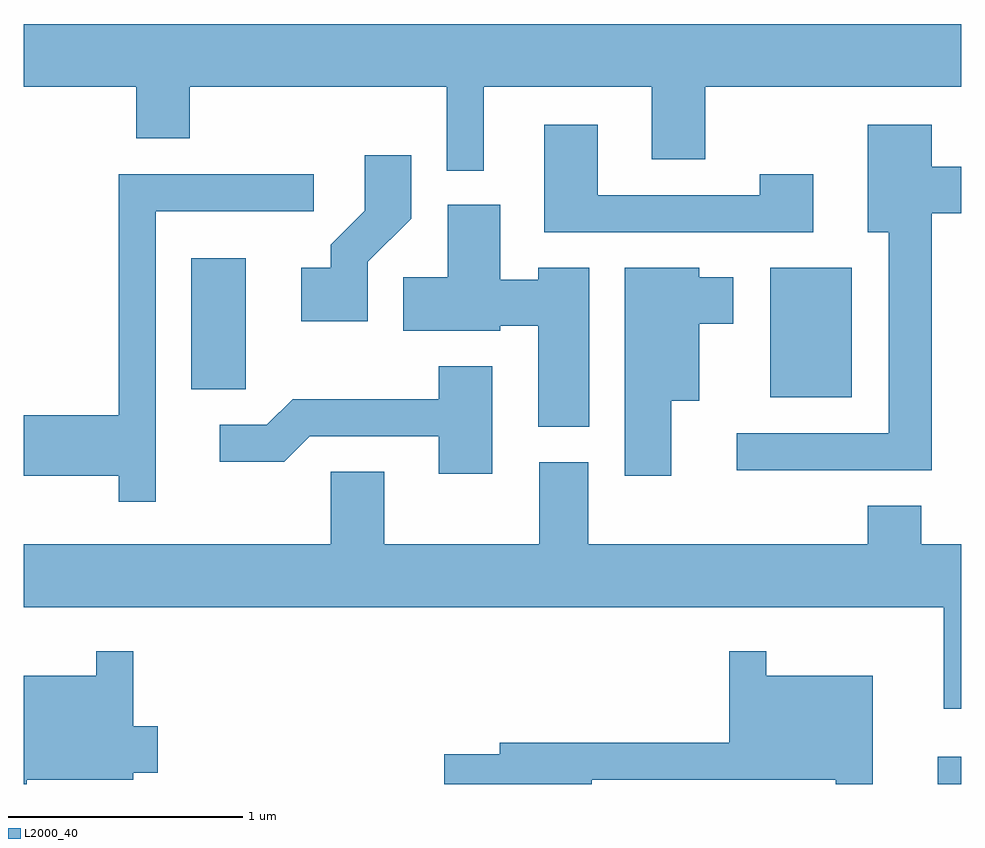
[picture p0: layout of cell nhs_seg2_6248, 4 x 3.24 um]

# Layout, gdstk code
import gdstk
lib = gdstk.Library(unit=1e-6, precision=1e-09)
def R(c, l, rs):  # rectangles x0, y0, x1, y1
    for r in rs: c.add(gdstk.rectangle(r[:2], r[2:], *l))
def P(c, l, *ps):  # polygons
    for p in ps: c.add(gdstk.Polygon(p, *l))
L2000_40 = (2000, 40)

nhs_seg2_6248 = lib.new_cell('nhs_seg2_6248')
R(nhs_seg2_6248, L2000_40, [(373.511,1029.802,373.611,1029.919), (372.796,1031.451,373.144,1032.004), (370.326,1031.486,370.559,1032.044)])
P(nhs_seg2_6248, L2000_40, [(371.574,1032.776),(372.291,1032.776),(372.291,1032.466),(372.519,1032.466),(372.519,1032.776),(373.611,1032.776),(373.611,1033.044),(369.611,1033.044),(369.611,1032.776),(370.091,1032.776),(370.091,1032.556),(370.319,1032.556),(370.319,1032.776),(371.416,1032.776),(371.416,1032.418),(371.574,1032.418)],
  [(373.484,1032.236),(373.611,1032.236),(373.611,1032.434),(373.484,1032.434),(373.484,1032.614),(373.211,1032.614),(373.211,1032.156),(373.301,1032.156),(373.301,1031.299),(372.653,1031.299),(372.653,1031.141),(373.484,1031.141)],
  [(372.979,1032.404),(372.751,1032.404),(372.751,1032.314),(372.059,1032.314),(372.059,1032.614),(371.831,1032.614),(371.831,1032.156),(372.979,1032.156)],
  [(371.079,1032.029),(371.264,1032.214),(371.264,1032.484),(371.066,1032.484),(371.066,1032.247),(370.921,1032.102),(370.921,1032.004),(370.796,1032.004),(370.796,1031.776),(371.079,1031.776)],
  [(370.174,1032.246),(370.848,1032.246),(370.848,1032.404),(370.016,1032.404),(370.016,1031.374),(369.611,1031.374),(369.611,1031.116),(370.016,1031.116),(370.016,1031.007),(370.174,1031.007)],
  [(372.024,1032.004),(371.806,1032.004),(371.806,1031.954),(371.644,1031.954),(371.644,1032.274),(371.421,1032.274),(371.421,1031.964),(371.231,1031.964),(371.231,1031.736),(371.644,1031.736),(371.644,1031.756),(371.806,1031.756),(371.806,1031.326),(372.024,1031.326)],
  [(372.374,1031.436),(372.494,1031.436),(372.494,1031.766),(372.639,1031.766),(372.639,1031.964),(372.494,1031.964),(372.494,1032.004),(372.176,1032.004),(372.176,1031.116),(372.374,1031.116)],
  [(371.609,1031.584),(371.381,1031.584),(371.381,1031.444),(370.759,1031.444),(370.649,1031.334),(370.448,1031.334),(370.448,1031.176),(370.722,1031.176),(370.832,1031.286),(371.381,1031.286),(371.381,1031.126),(371.609,1031.126)],
  [(373.611,1030.824),(373.439,1030.824),(373.439,1030.989),(373.211,1030.989),(373.211,1030.824),(372.019,1030.824),(372.019,1031.174),(371.811,1031.174),(371.811,1030.824),(371.149,1030.824),(371.149,1031.134),(370.921,1031.134),(370.921,1030.824),(369.611,1030.824),(369.611,1030.556),(373.536,1030.556),(373.536,1030.123),(373.611,1030.123)],
  [(369.624,1029.821),(370.079,1029.821),(370.079,1029.851),(370.184,1029.851),(370.184,1030.049),(370.079,1030.049),(370.079,1030.368),(369.921,1030.368),(369.921,1030.264),(369.611,1030.264),(369.611,1029.802),(369.624,1029.802)],
  [(372.034,1029.821),(373.076,1029.821),(373.076,1029.802),(373.234,1029.802),(373.234,1030.264),(372.779,1030.264),(372.779,1030.368),(372.621,1030.368),(372.621,1029.979),(371.641,1029.979),(371.641,1029.929),(371.406,1029.929),(371.406,1029.802),(372.034,1029.802)])

lib.write_gds('nhs_seg2_6248.gds')
